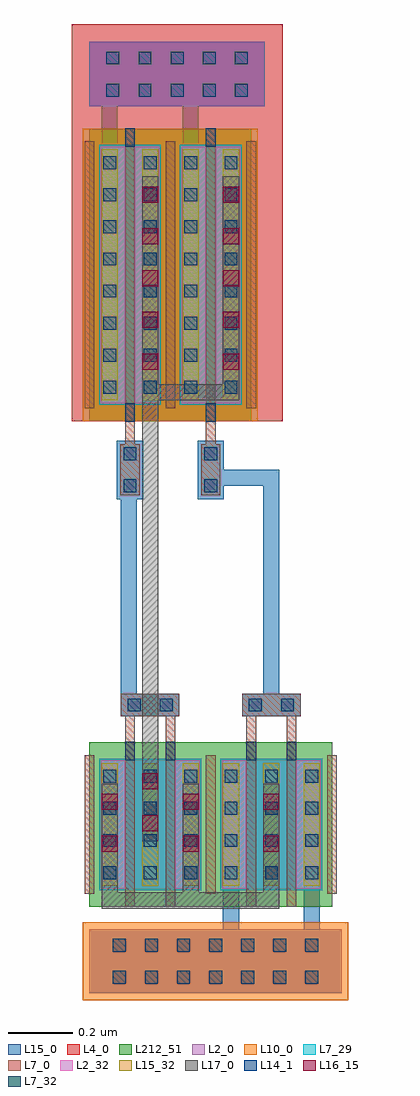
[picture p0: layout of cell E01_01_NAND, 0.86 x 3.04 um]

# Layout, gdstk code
import gdstk
lib = gdstk.Library(unit=1e-6, precision=1e-09)
def R(c, l, rs):  # rectangles x0, y0, x1, y1
    for r in rs: c.add(gdstk.rectangle(r[:2], r[2:], *l))
def A(c, l, x, y, w, h, nx, ny, dx, dy):  # array of equal rectangles
    R(c, l, [(x+i*dx, y+j*dy, x+i*dx+w, y+j*dy+h) for i in range(nx) for j in range(ny)])
L2_0 = (2, 0)
L2_32 = (2, 32)
L4_0 = (4, 0)
L7_0 = (7, 0)
L7_29 = (7, 29)
L7_32 = (7, 32)
L10_0 = (10, 0)
L14_1 = (14, 1)
L15_0 = (15, 0)
L15_32 = (15, 32)
L16_15 = (16, 15)
L17_0 = (17, 0)
L212_51 = (212, 51)

e01_01_nand_srf_pulldown = lib.new_cell('E01_01_NAND:SRF_Pulldown:SRF_NMOSA:SRF_Source_ViaM1M2:SRF_ViaM1M2')
R(e01_01_nand_srf_pulldown, L15_0, [(0,-0.162,0.05,0.082)])
R(e01_01_nand_srf_pulldown, L16_15, [(0,-0.13,0.05,-0.08), (0,0,0.05,0.05)])
R(e01_01_nand_srf_pulldown, L17_0, [(0,-0.162,0.05,0.082)])

c_e01_01_nand_srf_pulldown = lib.new_cell('E01_01_NAND:SRF_Pulldown:SRF_NMOSA:SRF_Source_ViaM1M2')
c_e01_01_nand_srf_pulldown.add(gdstk.Reference(e01_01_nand_srf_pulldown, (-0.025,0.04)))

c_e01_01_nand_srf_pulldown_ = lib.new_cell('E01_01_NAND:SRF_Pulldown:SRF_NMOSA:SRF_Drain_ViaM1M2:SRF_ViaM1M2')
R(c_e01_01_nand_srf_pulldown_, L15_0, [(0,-0.162,0.05,0.082)])
R(c_e01_01_nand_srf_pulldown_, L16_15, [(0,-0.13,0.05,-0.08), (0,0,0.05,0.05)])
R(c_e01_01_nand_srf_pulldown_, L17_0, [(0,-0.162,0.05,0.082)])

c_e01_01_nand_srf_pulldown__ = lib.new_cell('E01_01_NAND:SRF_Pulldown:SRF_NMOSA:SRF_Drain_ViaM1M2')
c_e01_01_nand_srf_pulldown__.add(gdstk.Reference(c_e01_01_nand_srf_pulldown_, (-0.025,0.04)))

c_e01_01_nand_srf_pulldown___ = lib.new_cell('E01_01_NAND:SRF_Pulldown:SRF_NMOSA')
R(c_e01_01_nand_srf_pulldown___, L2_0, [(-0.076,0.057,0.232,0.457)])
R(c_e01_01_nand_srf_pulldown___, L2_32, [(-0.076,0.057,0,0.457), (0.156,0.057,0.232,0.457)])
R(c_e01_01_nand_srf_pulldown___, L7_0, [(0,0,0.03,0.514), (0.126,0,0.156,0.514), (-0.126,0.041,-0.096,0.473), (0.252,0.041,0.282,0.473)])
R(c_e01_01_nand_srf_pulldown___, L7_29, [(-0.081,0.052,0.237,0.462)])
R(c_e01_01_nand_srf_pulldown___, L7_32, [(0,0.457,0.03,0.514), (0.126,0.457,0.156,0.514)])
A(c_e01_01_nand_srf_pulldown___, L14_1, -0.068, 0.087, 0.04, 0.04, 3, 4, 0.126, 0.1)
R(c_e01_01_nand_srf_pulldown___, L15_0, [(-0.073,0.066,-0.023,0.448), (-0.073,0.066,-0.023,0.448), (0.053,0.066,0.103,0.448), (0.053,0.066,0.103,0.448), (0.179,0.066,0.229,0.448), (0.179,0.066,0.229,0.448)])
A(c_e01_01_nand_srf_pulldown___, L15_32, -0.073, 0.066, 0.05, 0.382, 3, 1, 0.126, 0)
R(c_e01_01_nand_srf_pulldown___, L212_51, [(-0.111,0.001,0.267,0.513)])
c_e01_01_nand_srf_pulldown___.add(gdstk.Reference(c_e01_01_nand_srf_pulldown, (-0.048,0.262)))
c_e01_01_nand_srf_pulldown___.add(gdstk.Reference(c_e01_01_nand_srf_pulldown, (0.204,0.262)))
c_e01_01_nand_srf_pulldown___.add(gdstk.Reference(c_e01_01_nand_srf_pulldown__, (0.078,0.326)))

c_e01_01_nand_srf_pulldown____ = lib.new_cell('E01_01_NAND:SRF_Pulldown:SRF_NMOSA_Gate_ViaM0M1:SRF_ViaM0M1')
R(c_e01_01_nand_srf_pulldown____, L7_0, [(-0.01,-0.004,0.15,0.044)])
R(c_e01_01_nand_srf_pulldown____, L14_1, [(0,0,0.04,0.04), (0.1,0,0.14,0.04)])
R(c_e01_01_nand_srf_pulldown____, L15_0, [(-0.021,-0.005,0.161,0.045)])

c_e01_01_nand_srf_pulldown_____ = lib.new_cell('E01_01_NAND:SRF_Pulldown:SRF_NMOSA_Gate_ViaM0M1')
c_e01_01_nand_srf_pulldown_____.add(gdstk.Reference(c_e01_01_nand_srf_pulldown____, (-0.07,-0.02)))

c_e01_01_nand_srf_pulldown______ = lib.new_cell('E01_01_NAND:SRF_Pulldown:SRF_NMOSB:SRF_Drain_ViaM1M2:SRF_ViaM1M2')
R(c_e01_01_nand_srf_pulldown______, L15_0, [(0,-0.162,0.05,0.082)])
R(c_e01_01_nand_srf_pulldown______, L16_15, [(0,-0.13,0.05,-0.08), (0,0,0.05,0.05)])
R(c_e01_01_nand_srf_pulldown______, L17_0, [(0,-0.162,0.05,0.082)])

c_e01_01_nand_srf_pulldown_______ = lib.new_cell('E01_01_NAND:SRF_Pulldown:SRF_NMOSB:SRF_Drain_ViaM1M2')
c_e01_01_nand_srf_pulldown_______.add(gdstk.Reference(c_e01_01_nand_srf_pulldown______, (-0.025,0.04)))

c_e01_01_nand_srf_pulldown________ = lib.new_cell('E01_01_NAND:SRF_Pulldown:SRF_NMOSB')
R(c_e01_01_nand_srf_pulldown________, L2_0, [(-0.076,0.057,0.232,0.457)])
R(c_e01_01_nand_srf_pulldown________, L2_32, [(-0.076,0.057,0,0.457), (0.156,0.057,0.232,0.457)])
R(c_e01_01_nand_srf_pulldown________, L7_0, [(0,0,0.03,0.514), (0.126,0,0.156,0.514), (-0.126,0.041,-0.096,0.473), (0.252,0.041,0.282,0.473)])
R(c_e01_01_nand_srf_pulldown________, L7_29, [(-0.081,0.052,0.237,0.462)])
R(c_e01_01_nand_srf_pulldown________, L7_32, [(0,0.457,0.03,0.514), (0.126,0.457,0.156,0.514)])
A(c_e01_01_nand_srf_pulldown________, L14_1, -0.068, 0.087, 0.04, 0.04, 3, 4, 0.126, 0.1)
R(c_e01_01_nand_srf_pulldown________, L15_0, [(-0.073,0.066,-0.023,0.448), (-0.073,0.066,-0.023,0.448), (0.053,0.066,0.103,0.448), (0.053,0.066,0.103,0.448), (0.179,0.066,0.229,0.448), (0.179,0.066,0.229,0.448)])
A(c_e01_01_nand_srf_pulldown________, L15_32, -0.073, 0.066, 0.05, 0.382, 3, 1, 0.126, 0)
R(c_e01_01_nand_srf_pulldown________, L212_51, [(-0.111,0.001,0.267,0.513)])
c_e01_01_nand_srf_pulldown________.add(gdstk.Reference(c_e01_01_nand_srf_pulldown_______, (0.078,0.262)))

c_e01_01_nand_srf_pulldown_________ = lib.new_cell('E01_01_NAND:SRF_Pulldown:SRF_NMOSB_Gate_ViaM0M1:SRF_ViaM0M1')
R(c_e01_01_nand_srf_pulldown_________, L7_0, [(-0.01,-0.004,0.15,0.044)])
R(c_e01_01_nand_srf_pulldown_________, L14_1, [(0,0,0.04,0.04), (0.1,0,0.14,0.04)])
R(c_e01_01_nand_srf_pulldown_________, L15_0, [(-0.021,-0.005,0.161,0.045)])

c_e01_01_nand_srf_pulldown__________ = lib.new_cell('E01_01_NAND:SRF_Pulldown:SRF_NMOSB_Gate_ViaM0M1')
c_e01_01_nand_srf_pulldown__________.add(gdstk.Reference(c_e01_01_nand_srf_pulldown_________, (-0.07,-0.02)))

c_e01_01_nand_srf_pulldown___________ = lib.new_cell('E01_01_NAND:SRF_Pulldown')
R(c_e01_01_nand_srf_pulldown___________, L7_0, [(0,0.514,0.03,0.664), (0.126,0.514,0.156,0.664), (0.378,0.514,0.408,0.664), (0.504,0.514,0.534,0.664), (-0.013,0.594,0.169,0.664), (0.365,0.594,0.547,0.664)])
R(c_e01_01_nand_srf_pulldown___________, L15_0, [(-0.013,0.594,0.169,0.664), (0.365,0.594,0.547,0.664)])
R(c_e01_01_nand_srf_pulldown___________, L17_0, [(-0.073,-0.005,0.229,0.045), (0.229,-0.005,0.481,0.045), (0.431,-0.005,0.481,0.14), (-0.073,0.045,-0.023,0.204), (0.179,0.045,0.229,0.204), (0.053,0.384,0.103,0.543), (0.053,0.543,0.103,0.593)])
c_e01_01_nand_srf_pulldown___________.add(gdstk.Reference(c_e01_01_nand_srf_pulldown___, (0,0)))
c_e01_01_nand_srf_pulldown___________.add(gdstk.Reference(c_e01_01_nand_srf_pulldown_____, (0.078,0.629)))
c_e01_01_nand_srf_pulldown___________.add(gdstk.Reference(c_e01_01_nand_srf_pulldown________, (0.378,0)))
c_e01_01_nand_srf_pulldown___________.add(gdstk.Reference(c_e01_01_nand_srf_pulldown__________, (0.456,0.629)))

e01_01_nand_srf_pullup_s = lib.new_cell('E01_01_NAND:SRF_Pullup:SRF_PMOSA:SRF_Drain_ViaM1M2:SRF_ViaM1M2')
R(e01_01_nand_srf_pullup_s, L15_0, [(0,-0.552,0.05,0.082)])
A(e01_01_nand_srf_pullup_s, L16_15, 0, -0.52, 0.05, 0.05, 1, 5, 0, 0.13)
R(e01_01_nand_srf_pullup_s, L17_0, [(0,-0.552,0.05,0.082)])

c_e01_01_nand_srf_pullup_s = lib.new_cell('E01_01_NAND:SRF_Pullup:SRF_PMOSA:SRF_Drain_ViaM1M2')
c_e01_01_nand_srf_pullup_s.add(gdstk.Reference(e01_01_nand_srf_pullup_s, (-0.025,0.235)))

c_e01_01_nand_srf_pullup_s_ = lib.new_cell('E01_01_NAND:SRF_Pullup:SRF_PMOSA')
R(c_e01_01_nand_srf_pullup_s_, L2_0, [(-0.076,0.057,0.106,0.857)])
R(c_e01_01_nand_srf_pullup_s_, L2_32, [(-0.076,0.057,0,0.857), (0.03,0.057,0.106,0.857)])
R(c_e01_01_nand_srf_pullup_s_, L7_0, [(0,0,0.03,0.914), (-0.126,0.041,-0.096,0.873), (0.126,0.041,0.156,0.873)])
R(c_e01_01_nand_srf_pullup_s_, L7_29, [(-0.081,0.052,0.111,0.862)])
R(c_e01_01_nand_srf_pullup_s_, L7_32, [(0,0,0.03,0.057), (0,0.857,0.03,0.914)])
R(c_e01_01_nand_srf_pullup_s_, L10_0, [(-0.132,0.001,0.162,0.913)])
A(c_e01_01_nand_srf_pullup_s_, L14_1, -0.068, 0.087, 0.04, 0.04, 1, 8, 0, 0.1)
A(c_e01_01_nand_srf_pullup_s_, L14_1, 0.058, 0.087, 0.04, 0.04, 1, 8, 0, 0.1)
R(c_e01_01_nand_srf_pullup_s_, L15_0, [(-0.073,0.066,-0.023,0.848), (-0.073,0.066,-0.023,0.848), (0.053,0.066,0.103,0.848), (0.053,0.066,0.103,0.848)])
R(c_e01_01_nand_srf_pullup_s_, L15_32, [(-0.073,0.066,-0.023,0.848), (0.053,0.066,0.103,0.848)])
R(c_e01_01_nand_srf_pullup_s_, L212_51, [(-0.111,0.001,0.141,0.913)])
c_e01_01_nand_srf_pullup_s_.add(gdstk.Reference(c_e01_01_nand_srf_pullup_s, (0.078,0.447)))

c_e01_01_nand_srf_pullup_s__ = lib.new_cell('E01_01_NAND:SRF_Pullup:SRF_PMOSA_Gate_ViaM0M1:SRF_ViaM0M1')
R(c_e01_01_nand_srf_pullup_s__, L7_0, [(-0.01,-0.11,0.05,0.05)])
R(c_e01_01_nand_srf_pullup_s__, L14_1, [(0,-0.1,0.04,-0.06), (0,0,0.04,0.04)])
R(c_e01_01_nand_srf_pullup_s__, L15_0, [(-0.021,-0.121,0.061,0.061)])

c_e01_01_nand_srf_pullup_s___ = lib.new_cell('E01_01_NAND:SRF_Pullup:SRF_PMOSA_Gate_ViaM0M1')
c_e01_01_nand_srf_pullup_s___.add(gdstk.Reference(c_e01_01_nand_srf_pullup_s__, (-0.02,0.03)))

c_e01_01_nand_srf_pullup_s____ = lib.new_cell('E01_01_NAND:SRF_Pullup:SRF_PMOSB:SRF_Drain_ViaM1M2:SRF_ViaM1M2')
R(c_e01_01_nand_srf_pullup_s____, L15_0, [(0,-0.552,0.05,0.082)])
A(c_e01_01_nand_srf_pullup_s____, L16_15, 0, -0.52, 0.05, 0.05, 1, 5, 0, 0.13)
R(c_e01_01_nand_srf_pullup_s____, L17_0, [(0,-0.552,0.05,0.082)])

c_e01_01_nand_srf_pullup_s_____ = lib.new_cell('E01_01_NAND:SRF_Pullup:SRF_PMOSB:SRF_Drain_ViaM1M2')
c_e01_01_nand_srf_pullup_s_____.add(gdstk.Reference(c_e01_01_nand_srf_pullup_s____, (-0.025,0.235)))

c_e01_01_nand_srf_pullup_s______ = lib.new_cell('E01_01_NAND:SRF_Pullup:SRF_PMOSB')
R(c_e01_01_nand_srf_pullup_s______, L2_0, [(-0.076,0.057,0.106,0.857)])
R(c_e01_01_nand_srf_pullup_s______, L2_32, [(-0.076,0.057,0,0.857), (0.03,0.057,0.106,0.857)])
R(c_e01_01_nand_srf_pullup_s______, L7_0, [(0,0,0.03,0.914), (-0.126,0.041,-0.096,0.873), (0.126,0.041,0.156,0.873)])
R(c_e01_01_nand_srf_pullup_s______, L7_29, [(-0.081,0.052,0.111,0.862)])
R(c_e01_01_nand_srf_pullup_s______, L7_32, [(0,0,0.03,0.057), (0,0.857,0.03,0.914)])
R(c_e01_01_nand_srf_pullup_s______, L10_0, [(-0.132,0.001,0.162,0.913)])
A(c_e01_01_nand_srf_pullup_s______, L14_1, -0.068, 0.087, 0.04, 0.04, 1, 8, 0, 0.1)
A(c_e01_01_nand_srf_pullup_s______, L14_1, 0.058, 0.087, 0.04, 0.04, 1, 8, 0, 0.1)
R(c_e01_01_nand_srf_pullup_s______, L15_0, [(-0.073,0.066,-0.023,0.848), (-0.073,0.066,-0.023,0.848), (0.053,0.066,0.103,0.848), (0.053,0.066,0.103,0.848)])
R(c_e01_01_nand_srf_pullup_s______, L15_32, [(-0.073,0.066,-0.023,0.848), (0.053,0.066,0.103,0.848)])
R(c_e01_01_nand_srf_pullup_s______, L212_51, [(-0.111,0.001,0.141,0.913)])
c_e01_01_nand_srf_pullup_s______.add(gdstk.Reference(c_e01_01_nand_srf_pullup_s_____, (0.078,0.447)))

c_e01_01_nand_srf_pullup_s_______ = lib.new_cell('E01_01_NAND:SRF_Pullup:SRF_PMOSB_Gate_ViaM0M1:SRF_ViaM0M1')
R(c_e01_01_nand_srf_pullup_s_______, L7_0, [(-0.01,-0.11,0.05,0.05)])
R(c_e01_01_nand_srf_pullup_s_______, L14_1, [(0,-0.1,0.04,-0.06), (0,0,0.04,0.04)])
R(c_e01_01_nand_srf_pullup_s_______, L15_0, [(-0.021,-0.121,0.061,0.061)])

c_e01_01_nand_srf_pullup_s________ = lib.new_cell('E01_01_NAND:SRF_Pullup:SRF_PMOSB_Gate_ViaM0M1')
c_e01_01_nand_srf_pullup_s________.add(gdstk.Reference(c_e01_01_nand_srf_pullup_s_______, (-0.02,0.03)))

e01_01_nand_srf_pullup = lib.new_cell('E01_01_NAND:SRF_Pullup')
R(e01_01_nand_srf_pullup, L7_0, [(-0.015,-0.23,0.045,-0.07), (0.237,-0.23,0.297,-0.07), (0,-0.15,0.03,0), (0.252,-0.15,0.282,0)])
R(e01_01_nand_srf_pullup, L15_0, [(-0.026,-0.241,0.056,-0.059), (0.226,-0.241,0.308,-0.059)])
R(e01_01_nand_srf_pullup, L17_0, [(0.053,0.066,0.103,0.13), (0.053,0.066,0.103,0.116), (0.053,0.066,0.355,0.116), (0.305,0.066,0.355,0.13), (0.305,0.066,0.355,0.116)])
e01_01_nand_srf_pullup.add(gdstk.Reference(c_e01_01_nand_srf_pullup_s_, (0,0)))
e01_01_nand_srf_pullup.add(gdstk.Reference(c_e01_01_nand_srf_pullup_s___, (0.015,-0.15)))
e01_01_nand_srf_pullup.add(gdstk.Reference(c_e01_01_nand_srf_pullup_s______, (0.252,0)))
e01_01_nand_srf_pullup.add(gdstk.Reference(c_e01_01_nand_srf_pullup_s________, (0.267,-0.15)))

e01_01_nand_srf_pbody_sr = lib.new_cell('E01_01_NAND:SRF_Pbody:SRF_PbodyContactPhyLen')
R(e01_01_nand_srf_pbody_sr, L2_0, [(-0.073,-0.13,0.713,0.07)])
R(e01_01_nand_srf_pbody_sr, L10_0, [(-0.094,-0.151,0.734,0.091)])
A(e01_01_nand_srf_pbody_sr, L14_1, 0, -0.1, 0.04, 0.04, 7, 2, 0.1, 0.1)
R(e01_01_nand_srf_pbody_sr, L15_0, [(-0.073,-0.13,0.713,0.07)])

e01_01_nand_srf_pbody = lib.new_cell('E01_01_NAND:SRF_Pbody')
e01_01_nand_srf_pbody.add(gdstk.Reference(e01_01_nand_srf_pbody_sr, (0,0)))

e01_01_nand_srf_nbody_sr = lib.new_cell('E01_01_NAND:SRF_Nbody:SRF_NbodyContactPhyLen')
R(e01_01_nand_srf_nbody_sr, L2_0, [(-0.053,-0.13,0.493,0.07)])
R(e01_01_nand_srf_nbody_sr, L4_0, [(-0.109,-0.186,0.549,0.126)])
A(e01_01_nand_srf_nbody_sr, L14_1, 0, -0.1, 0.04, 0.04, 5, 2, 0.1, 0.1)
R(e01_01_nand_srf_nbody_sr, L15_0, [(-0.053,-0.13,0.493,0.07)])

e01_01_nand_srf_nbody = lib.new_cell('E01_01_NAND:SRF_Nbody')
e01_01_nand_srf_nbody.add(gdstk.Reference(e01_01_nand_srf_nbody_sr, (0,0)))

e01_01_nand = lib.new_cell('E01_01_NAND')
R(e01_01_nand, L4_0, [(-0.167,1.513,0.491,2.751)])
R(e01_01_nand, L15_0, [(0.305,-0.069,0.355,0.066), (0.557,-0.069,0.607,0.066), (-0.013,0.594,0.037,1.453), (0.431,0.594,0.481,1.362), (0.226,1.312,0.481,1.362), (-0.073,2.36,-0.023,2.495), (0.179,2.36,0.229,2.495)])
R(e01_01_nand, L17_0, [(0.053,0.543,0.103,1.628)])
e01_01_nand.add(gdstk.Reference(c_e01_01_nand_srf_pulldown___________, (0,0)))
e01_01_nand.add(gdstk.Reference(e01_01_nand_srf_pullup, (0,1.512)))
e01_01_nand.add(gdstk.Reference(e01_01_nand_srf_pbody, (-0.038,-0.139)))
e01_01_nand.add(gdstk.Reference(e01_01_nand_srf_nbody, (-0.058,2.625)))

lib.write_gds('E01_01_NAND.gds')
